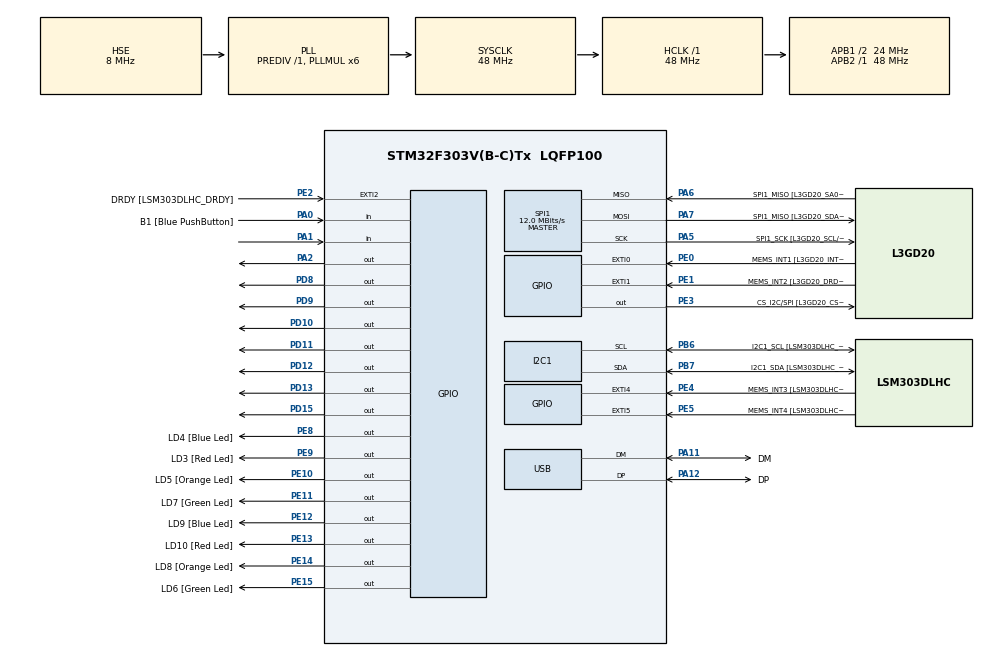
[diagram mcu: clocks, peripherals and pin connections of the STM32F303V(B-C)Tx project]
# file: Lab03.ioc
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I2C1.Timing=0x00201D2B
I2C1.Timing-I2C=0x2000090E
Mcu.Family=STM32F3
Mcu.Name=STM32F303V(B-C)Tx
Mcu.Package=LQFP100
NVIC.PriorityGroup=NVIC_PRIORITYGROUP_0
PA0.GPIO_Label=B1 [Blue PushButton]
PA0.Signal=GPIO_Input
PA1.Signal=GPIO_Input
PA11.GPIO_Label=DM
PA11.Mode=Device
PA11.Signal=USB_DM
PA12.GPIO_Label=DP
PA12.Mode=Device
PA12.Signal=USB_DP
PA13.GPIO_Label=SWDIO
PA13.Mode=Serial_Wire
PA13.Signal=SYS_JTMS-SWDIO
PA14.GPIO_Label=SWCLK
PA14.Mode=Serial_Wire
PA14.Signal=SYS_JTCK-SWCLK
PA2.Signal=GPIO_Output
PA5.GPIO_Label=SPI1_SCK [L3GD20_SCL/SPC]
PA5.Mode=Full_Duplex_Master
PA5.Signal=SPI1_SCK
PA6.GPIO_Label=SPI1_MISO [L3GD20_SA0/SDO]
PA6.Mode=Full_Duplex_Master
PA6.Signal=SPI1_MISO
PA7.GPIO_Label=SPI1_MISO [L3GD20_SDA/SDI/SDO]
PA7.Mode=Full_Duplex_Master
PA7.Signal=SPI1_MOSI
PB3.GPIO_Label=SWO
PB3.Signal=SYS_JTDO-TRACESWO
PB6.GPIO_Label=I2C1_SCL [LSM303DLHC_SCL]
PB6.GPIO_Pu=GPIO_PULLUP
PB6.Mode=I2C
PB6.Signal=I2C1_SCL
PB7.GPIO_Label=I2C1_SDA [LSM303DLHC_SDA]
PB7.GPIO_Pu=GPIO_PULLUP
PB7.Mode=I2C
PB7.Signal=I2C1_SDA
PC14-OSC32_IN.GPIO_Label=OSC32_IN
PC14-OSC32_IN.Signal=RCC_OSC32_IN
PC15-OSC32_OUT.GPIO_Label=OSC32_OUT
PC15-OSC32_OUT.Signal=RCC_OSC32_OUT
PD10.PinState=GPIO_PIN_SET
PD10.Signal=GPIO_Output
PD11.PinState=GPIO_PIN_SET
PD11.Signal=GPIO_Output
PD12.PinState=GPIO_PIN_SET
PD12.Signal=GPIO_Output
PD13.PinState=GPIO_PIN_SET
PD13.Signal=GPIO_Output
PD15.PinState=GPIO_PIN_SET
PD15.Signal=GPIO_Output
PD8.PinState=GPIO_PIN_SET
PD8.Signal=GPIO_Output
PD9.PinState=GPIO_PIN_SET
PD9.Signal=GPIO_Output
PE0.GPIO_Label=MEMS_INT1 [L3GD20_INT1]
PE0.GPIO_ModeDefaultEXTI=GPIO_MODE_EVT_RISING
PE0.Signal=GPXTI0
PE1.GPIO_Label=MEMS_INT2 [L3GD20_DRDY/INT2]
PE1.GPIO_ModeDefaultEXTI=GPIO_MODE_EVT_RISING
PE1.Signal=GPXTI1
PE10.GPIO_Label=LD5 [Orange Led]
PE10.Signal=GPIO_Output
PE11.GPIO_Label=LD7 [Green Led]
PE11.Signal=GPIO_Output
PE12.GPIO_Label=LD9 [Blue Led]
PE12.Signal=GPIO_Output
PE13.GPIO_Label=LD10 [Red Led]
PE13.Signal=GPIO_Output
PE14.GPIO_Label=LD8 [Orange Led]
PE14.Signal=GPIO_Output
PE15.GPIO_Label=LD6 [Green Led]
PE15.Signal=GPIO_Output
PE2.GPIO_Label=DRDY [LSM303DLHC_DRDY]
PE2.GPIO_ModeDefaultEXTI=GPIO_MODE_EVT_RISING
PE2.Signal=GPXTI2
PE3.GPIO_Label=CS_I2C/SPI [L3GD20_CS_I2C/SPI]
PE3.Signal=GPIO_Output
PE4.GPIO_Label=MEMS_INT3 [LSM303DLHC_INT1]
PE4.GPIO_ModeDefaultEXTI=GPIO_MODE_EVT_RISING
PE4.Signal=GPXTI4
PE5.GPIO_Label=MEMS_INT4 [LSM303DLHC_INT2]
PE5.GPIO_ModeDefaultEXTI=GPIO_MODE_EVT_RISING
PE5.Signal=GPXTI5
PE8.GPIO_Label=LD4 [Blue Led]
PE8.Signal=GPIO_Output
PE9.GPIO_Label=LD3 [Red Led]
PE9.Signal=GPIO_Output
PF0-OSC_IN.GPIO_Label=OSC_IN
PF0-OSC_IN.Mode=HSE-External-Clock-Source
PF0-OSC_IN.Signal=RCC_OSC_IN
PF1-OSC_OUT.GPIO_Label=OSC_OUT
PF1-OSC_OUT.Signal=RCC_OSC_OUT
ProjectManager.HeapSize=0x200
ProjectManager.StackSize=0x400
ProjectManager.TargetToolchain=CMake
RCC.AHBFreq_Value=48000000
RCC.APB1CLKDivider=RCC_HCLK_DIV2
RCC.APB1Freq_Value=24000000
RCC.APB1TimFreq_Value=48000000
RCC.APB2Freq_Value=48000000
RCC.APB2TimFreq_Value=48000000
RCC.CortexFreq_Value=48000000
RCC.HCLKFreq_Value=48000000
RCC.HSE_VALUE=8000000
RCC.HSI_VALUE=8000000
RCC.LSE_VALUE=32768
RCC.PLLMUL=RCC_PLL_MUL6
RCC.SYSCLKFreq_VALUE=48000000
RCC.SYSCLKSourceVirtual=RCC_SYSCLKSOURCE_PLLCLK
RCC.USBFreq_Value=48000000
SPI1.BaudRatePrescaler=SPI_BAUDRATEPRESCALER_4
SPI1.BaudRatePrescaler-Full_Duplex_Master=SPI_BAUDRATEPRESCALER_2
SPI1.CalculateBaudRate=12.0 MBits/s
SPI1.CalculateBaudRate-Full_Duplex_Master=24.0 MBits/s
SPI1.Direction=SPI_DIRECTION_2LINES
SPI1.Mode=SPI_MODE_MASTER
SPI1.Mode-Full_Duplex_Master=SPI_MODE_MASTER
SPI1.VirtualType=VM_MASTER
board=STM32F3DISCOVERY

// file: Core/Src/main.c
/* USER CODE BEGIN Header */
/**
  ******************************************************************************
  * @file           : main.c
  * @brief          : Main program body
  ******************************************************************************
  * @attention
  *
  * Copyright (c) 2026 STMicroelectronics.
  * All rights reserved.
  *
  * This software is licensed under terms that can be found in the LICENSE file
  * in the root directory of this software component.
  * If no LICENSE file comes with this software, it is provided AS-IS.
  *
  ******************************************************************************
  */
/* USER CODE END Header */
#include "main.h"
#include "stm32f3xx_hal_gpio.h"
#include "stdlib.h"

I2C_HandleTypeDef hi2c1;

SPI_HandleTypeDef hspi1;

PCD_HandleTypeDef hpcd_USB_FS;

void SystemClock_Config(void);
static void MX_GPIO_Init(void);
static void MX_I2C1_Init(void);
static void MX_SPI1_Init(void);
static void MX_USB_PCD_Init(void);

/* USER CODE BEGIN 0 */

// My Lab01 starts from here
// index 0=a, 1=b, 2=c, 3=d, 4=e, 5=f, 6=g
uint16_t segment_pins[7] = {
    GPIO_PIN_10, // a
    GPIO_PIN_11, // b
    GPIO_PIN_15, // c
    GPIO_PIN_12, // d
    GPIO_PIN_13, // e
    GPIO_PIN_8,  // f
    GPIO_PIN_9   // g
};

// Common anode patterns (bit order gfedcba, 0 = segment ON) — Table 8.5 in manual
uint8_t segment_map[16] = {
    0x40, 0x79, 0x24, 0x30, 0x19, 0x12, 0x02, 0x78,  // 0-7
    0x00, 0x10, 0x08, 0x03, 0x46, 0x21, 0x06, 0x0E   // 8-F
};

void display_number(uint8_t num) {
    if (num > 15) return;
    uint8_t pattern = segment_map[num];
    for (int i = 0; i < 7; i++) {
        HAL_GPIO_WritePin(GPIOD, segment_pins[i], ((pattern >> i) & 0x01) ? GPIO_PIN_SET : GPIO_PIN_RESET);
    }
}
//Lab01 ends here
/* USER CODE END 0 */

int main(void)
{

  /* USER CODE BEGIN 1 */
int8_t counter = 0;
  /* USER CODE END 1 */

  /* MCU Configuration--------------------------------------------------------*/

  /* Reset of all peripherals, Initializes the Flash interface and the Systick. */
  HAL_Init();

  /* Configure the system clock */
  SystemClock_Config();

  /* Initialize all configured peripherals */
  MX_GPIO_Init();
  MX_I2C1_Init();
  MX_SPI1_Init();
  MX_USB_PCD_Init();
  /* USER CODE BEGIN 2 */
  //task2 starts
// uint8_t student_id[] = {1, 0, 3, 3, 1};
// uint8_t id_index = 0;

//task2 ends

  /* USER CODE END 2 */
srand(HAL_GetTick());
  /* Infinite loop */
  /* USER CODE BEGIN WHILE */
  display_number(segment_map[0]); // Display initial value
  while (1)
  {
       // HAL_GPIO_WritePin(GPIOD, GPIO_PIN_10, GPIO_PIN_RESET);
    //task01 starts

//     for (uint8_t i = 0; i <= 15; i++) {
//     display_number(i);
//     HAL_Delay(2000);
//     //Lab01 ends
// }
//task2 starts
//     if (HAL_GPIO_ReadPin(GPIOA, GPIO_PIN_0) == GPIO_PIN_SET) { // USER button pressed
//     display_number(student_id[id_index]);
//     id_index++;
//     if (id_index >= sizeof(student_id)) {
//         id_index = 0; // reset to first digit after last
//     }
//     HAL_Delay(300); // simple debounce — waits out the press/bounce
//     while (HAL_GPIO_ReadPin(GPIOA, GPIO_PIN_0) == GPIO_PIN_SET); // wait for release
//     //task2 ends
// }
    /* USER CODE END WHILE */
    //task3 starts
//     if (HAL_GPIO_ReadPin(GPIOA, GPIO_PIN_0) == GPIO_PIN_SET) { // USER button = +1
//     counter++;
//     if (counter > 15) counter = 0; // wrap around (single hex digit display)
//     display_number(counter);
//     HAL_Delay(300); // debounce
//     while (HAL_GPIO_ReadPin(GPIOA, GPIO_PIN_0) == GPIO_PIN_SET); // wait for release
// }

// if (HAL_GPIO_ReadPin(GPIOD, GPIO_PIN_5) == GPIO_PIN_SET) { // External button = -1
//     counter--;
//     if (counter < 0) counter = 15; // wrap around
//     display_number(counter);
//     HAL_Delay(300); // debounce
//     while (HAL_GPIO_ReadPin(GPIOD, GPIO_PIN_5) == GPIO_PIN_SET); // wait for release
// }
//task3 ends
// if (HAL_GPIO_ReadPin(GPIOA, GPIO_PIN_0) == GPIO_PIN_SET) { // USER button pressed
//     // Generate a pseudo-random number from 0 to 9 (or 0 to 15 for Hex)
//     uint8_t random_digit = rand() % 10; // Change to % 16 for Hex (0-F)

//     display_number(random_digit);

//     HAL_Delay(300); // Debounce delay
//     while (HAL_GPIO_ReadPin(GPIOA, GPIO_PIN_0) == GPIO_PIN_SET); // Wait for release
// }
// task4 complete

  }
}

void SystemClock_Config(void)
{
  RCC_OscInitTypeDef RCC_OscInitStruct = {0};
  RCC_ClkInitTypeDef RCC_ClkInitStruct = {0};
  RCC_PeriphCLKInitTypeDef PeriphClkInit = {0};

  /** Initializes the RCC Oscillators according to the specified parameters
  * in the RCC_OscInitTypeDef structure.
  */
  RCC_OscInitStruct.OscillatorType = RCC_OSCILLATORTYPE_HSI|RCC_OSCILLATORTYPE_HSE;
  RCC_OscInitStruct.HSEState = RCC_HSE_BYPASS;
  RCC_OscInitStruct.HSEPredivValue = RCC_HSE_PREDIV_DIV1;
  RCC_OscInitStruct.HSIState = RCC_HSI_ON;
  RCC_OscInitStruct.HSICalibrationValue = RCC_HSICALIBRATION_DEFAULT;
  RCC_OscInitStruct.PLL.PLLState = RCC_PLL_ON;
  RCC_OscInitStruct.PLL.PLLSource = RCC_PLLSOURCE_HSE;
  RCC_OscInitStruct.PLL.PLLMUL = RCC_PLL_MUL6;
  if (HAL_RCC_OscConfig(&RCC_OscInitStruct) != HAL_OK)
  {
    Error_Handler();
  }

  /** Initializes the CPU, AHB and APB buses clocks
  */
  RCC_ClkInitStruct.ClockType = RCC_CLOCKTYPE_HCLK|RCC_CLOCKTYPE_SYSCLK
                              |RCC_CLOCKTYPE_PCLK1|RCC_CLOCKTYPE_PCLK2;
  RCC_ClkInitStruct.SYSCLKSource = RCC_SYSCLKSOURCE_PLLCLK;
  RCC_ClkInitStruct.AHBCLKDivider = RCC_SYSCLK_DIV1;
  RCC_ClkInitStruct.APB1CLKDivider = RCC_HCLK_DIV2;
  RCC_ClkInitStruct.APB2CLKDivider = RCC_HCLK_DIV1;

  if (HAL_RCC_ClockConfig(&RCC_ClkInitStruct, FLASH_LATENCY_1) != HAL_OK)
  {
    Error_Handler();
  }
  PeriphClkInit.PeriphClockSelection = RCC_PERIPHCLK_USB|RCC_PERIPHCLK_I2C1;
  PeriphClkInit.I2c1ClockSelection = RCC_I2C1CLKSOURCE_HSI;
  PeriphClkInit.USBClockSelection = RCC_USBCLKSOURCE_PLL;
  if (HAL_RCCEx_PeriphCLKConfig(&PeriphClkInit) != HAL_OK)
  {
    Error_Handler();
  }
}

static void MX_I2C1_Init(void)
{

  hi2c1.Instance = I2C1;
  hi2c1.Init.Timing = 0x00201D2B;
  hi2c1.Init.OwnAddress1 = 0;
  hi2c1.Init.AddressingMode = I2C_ADDRESSINGMODE_7BIT;
  hi2c1.Init.DualAddressMode = I2C_DUALADDRESS_DISABLE;
  hi2c1.Init.OwnAddress2 = 0;
  hi2c1.Init.OwnAddress2Masks = I2C_OA2_NOMASK;
  hi2c1.Init.GeneralCallMode = I2C_GENERALCALL_DISABLE;
  hi2c1.Init.NoStretchMode = I2C_NOSTRETCH_DISABLE;
  if (HAL_I2C_Init(&hi2c1) != HAL_OK)
  {
    Error_Handler();
  }

  /** Configure Analogue filter
  */
  if (HAL_I2CEx_ConfigAnalogFilter(&hi2c1, I2C_ANALOGFILTER_ENABLE) != HAL_OK)
  {
    Error_Handler();
  }

  /** Configure Digital filter
  */
  if (HAL_I2CEx_ConfigDigitalFilter(&hi2c1, 0) != HAL_OK)
  {
    Error_Handler();
  }

}

static void MX_SPI1_Init(void)
{

  /* SPI1 parameter configuration*/
  hspi1.Instance = SPI1;
  hspi1.Init.Mode = SPI_MODE_MASTER;
  hspi1.Init.Direction = SPI_DIRECTION_2LINES;
  hspi1.Init.DataSize = SPI_DATASIZE_4BIT;
  hspi1.Init.CLKPolarity = SPI_POLARITY_LOW;
  hspi1.Init.CLKPhase = SPI_PHASE_1EDGE;
  hspi1.Init.NSS = SPI_NSS_SOFT;
  hspi1.Init.BaudRatePrescaler = SPI_BAUDRATEPRESCALER_4;
  hspi1.Init.FirstBit = SPI_FIRSTBIT_MSB;
  hspi1.Init.TIMode = SPI_TIMODE_DISABLE;
  hspi1.Init.CRCCalculation = SPI_CRCCALCULATION_DISABLE;
  hspi1.Init.CRCPolynomial = 7;
  hspi1.Init.CRCLength = SPI_CRC_LENGTH_DATASIZE;
  hspi1.Init.NSSPMode = SPI_NSS_PULSE_ENABLE;
  if (HAL_SPI_Init(&hspi1) != HAL_OK)
  {
    Error_Handler();
  }

}

static void MX_USB_PCD_Init(void)
{

  hpcd_USB_FS.Instance = USB;
  hpcd_USB_FS.Init.dev_endpoints = 8;
  hpcd_USB_FS.Init.speed = PCD_SPEED_FULL;
  hpcd_USB_FS.Init.phy_itface = PCD_PHY_EMBEDDED;
  hpcd_USB_FS.Init.low_power_enable = DISABLE;
  hpcd_USB_FS.Init.battery_charging_enable = DISABLE;
  if (HAL_PCD_Init(&hpcd_USB_FS) != HAL_OK)
  {
    Error_Handler();
  }

}

static void MX_GPIO_Init(void)
{
  GPIO_InitTypeDef GPIO_InitStruct = {0};

  /* GPIO Ports Clock Enable */
  __HAL_RCC_GPIOE_CLK_ENABLE();
  __HAL_RCC_GPIOC_CLK_ENABLE();
  __HAL_RCC_GPIOF_CLK_ENABLE();
  __HAL_RCC_GPIOA_CLK_ENABLE();
  __HAL_RCC_GPIOD_CLK_ENABLE();
  __HAL_RCC_GPIOB_CLK_ENABLE();

  /*Configure GPIO pin Output Level */
  HAL_GPIO_WritePin(GPIOE, CS_I2C_SPI_Pin|LD4_Pin|LD3_Pin|LD5_Pin
                          |LD7_Pin|LD9_Pin|LD10_Pin|LD8_Pin
                          |LD6_Pin, GPIO_PIN_RESET);

  /*Configure GPIO pin Output Level */
  HAL_GPIO_WritePin(GPIOA, GPIO_PIN_2, GPIO_PIN_RESET);

  /*Configure GPIO pin Output Level */
  HAL_GPIO_WritePin(GPIOD, GPIO_PIN_8|GPIO_PIN_9|GPIO_PIN_10|GPIO_PIN_11
                          |GPIO_PIN_12|GPIO_PIN_13|GPIO_PIN_15, GPIO_PIN_SET);

  /*Configure GPIO pins : DRDY_Pin MEMS_INT3_Pin MEMS_INT4_Pin MEMS_INT1_Pin
                           MEMS_INT2_Pin */
  GPIO_InitStruct.Pin = DRDY_Pin|MEMS_INT3_Pin|MEMS_INT4_Pin|MEMS_INT1_Pin
                          |MEMS_INT2_Pin;
  GPIO_InitStruct.Mode = GPIO_MODE_EVT_RISING;
  GPIO_InitStruct.Pull = GPIO_NOPULL;
  HAL_GPIO_Init(GPIOE, &GPIO_InitStruct);

  /*Configure GPIO pins : CS_I2C_SPI_Pin LD4_Pin LD3_Pin LD5_Pin
                           LD7_Pin LD9_Pin LD10_Pin LD8_Pin
                           LD6_Pin */
  GPIO_InitStruct.Pin = CS_I2C_SPI_Pin|LD4_Pin|LD3_Pin|LD5_Pin
                          |LD7_Pin|LD9_Pin|LD10_Pin|LD8_Pin
                          |LD6_Pin;
  GPIO_InitStruct.Mode = GPIO_MODE_OUTPUT_PP;
  GPIO_InitStruct.Pull = GPIO_NOPULL;
  GPIO_InitStruct.Speed = GPIO_SPEED_FREQ_LOW;
  HAL_GPIO_Init(GPIOE, &GPIO_InitStruct);

  /*Configure GPIO pins : B1_Pin PA1 */
  GPIO_InitStruct.Pin = B1_Pin|GPIO_PIN_1;
  GPIO_InitStruct.Mode = GPIO_MODE_INPUT;
  GPIO_InitStruct.Pull = GPIO_NOPULL;
  HAL_GPIO_Init(GPIOA, &GPIO_InitStruct);

  /*Configure GPIO pin : PA2 */
  GPIO_InitStruct.Pin = GPIO_PIN_2;
  GPIO_InitStruct.Mode = GPIO_MODE_OUTPUT_PP;
  GPIO_InitStruct.Pull = GPIO_NOPULL;
  GPIO_InitStruct.Speed = GPIO_SPEED_FREQ_LOW;
  HAL_GPIO_Init(GPIOA, &GPIO_InitStruct);

  /*Configure GPIO pins : PD8 PD9 PD10 PD11
                           PD12 PD13 PD15 */
  GPIO_InitStruct.Pin = GPIO_PIN_8|GPIO_PIN_9|GPIO_PIN_10|GPIO_PIN_11
                          |GPIO_PIN_12|GPIO_PIN_13|GPIO_PIN_15;
  GPIO_InitStruct.Mode = GPIO_MODE_OUTPUT_PP;
  GPIO_InitStruct.Pull = GPIO_NOPULL;
  GPIO_InitStruct.Speed = GPIO_SPEED_FREQ_LOW;
  HAL_GPIO_Init(GPIOD, &GPIO_InitStruct);

}

void Error_Handler(void)
{
  __disable_irq();
  while (1)
  {
  }
}
